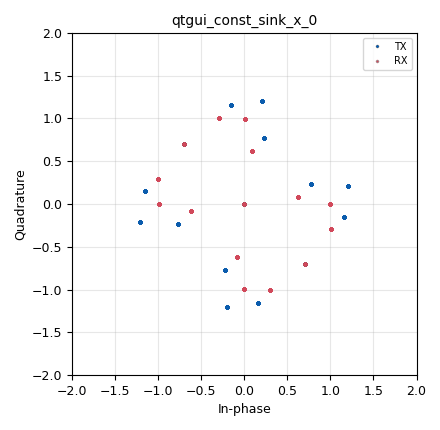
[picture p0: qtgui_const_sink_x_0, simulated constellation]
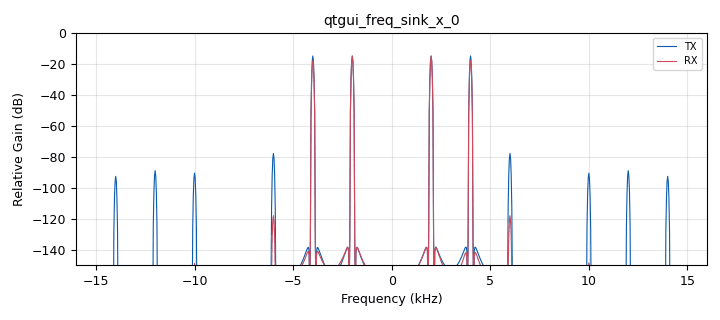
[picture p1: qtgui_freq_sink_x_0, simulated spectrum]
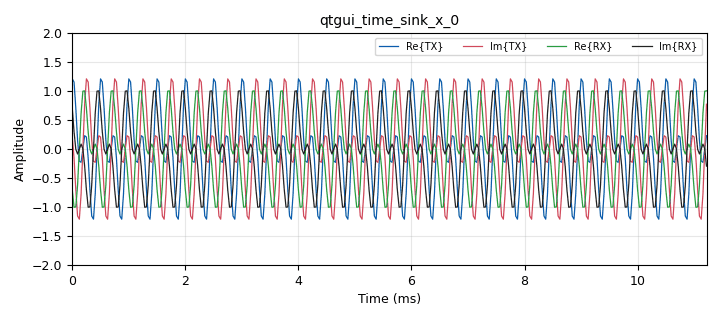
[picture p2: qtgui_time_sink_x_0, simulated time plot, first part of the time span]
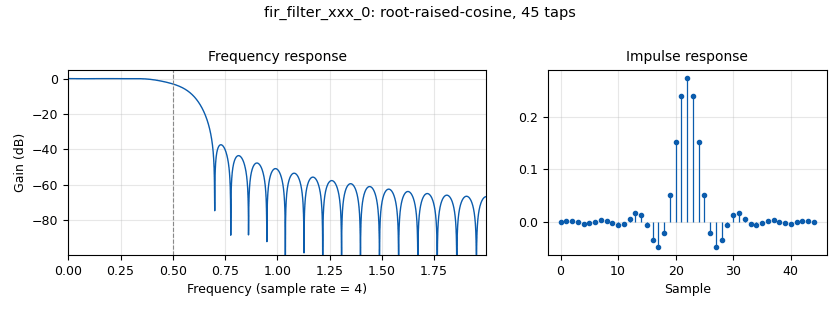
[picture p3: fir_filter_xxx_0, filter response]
<?xml version='1.0' encoding='utf-8'?>
<?grc format='1' created='3.7.10'?>
<flow_graph>
<block>
<key>options</key>
<param><key>id</key><value>vector_source_modulation</value></param>
<param><key>category</key><value>Custom</value></param>
<param><key>generate_options</key><value>qt_gui</value></param>
</block>
<block>
<key>variable</key>
<param><key>id</key><value>arity</value></param>
<param><key>value</key><value>4</value></param>
</block>
<block>
<key>variable</key>
<param><key>id</key><value>excess_bw</value></param>
<param><key>value</key><value>0.35</value></param>
</block>
<block>
<key>variable_constellation_rect</key>
<param><key>id</key><value>qpsk</value></param>
<param><key>const_points</key><value>[1+0j,-1+0j,0+1j,0-1j]</value></param>
<param><key>imag_sect</key><value>2</value></param>
<param><key>real_sect</key><value>2</value></param>
<param><key>rot_sym</key><value>4</value></param>
<param><key>sym_map</key><value>[0, 1, 2, 3]</value></param>
<param><key>w_imag_sect</key><value>1</value></param>
<param><key>w_real_sect</key><value>1</value></param>
</block>
<block>
<key>variable</key>
<param><key>id</key><value>rrc_taps</value></param>
<param><key>value</key><value>firdes.root_raised_cosine(1, sps, 1, excess_bw, 45)</value></param>
</block>
<block>
<key>variable</key>
<param><key>id</key><value>samp_rate</value></param>
<param><key>value</key><value>32000</value></param>
</block>
<block>
<key>variable</key>
<param><key>id</key><value>sps</value></param>
<param><key>value</key><value>4</value></param>
</block>
<block>
<key>analog_random_source_x</key>
<param><key>id</key><value>analog_random_source_x_0</value></param>
<param><key>_enabled</key><value>0</value></param>
<param><key>max</key><value>2</value></param>
<param><key>min</key><value>0</value></param>
<param><key>num_samps</key><value>10000</value></param>
<param><key>type</key><value>byte</value></param>
<param><key>repeat</key><value>True</value></param>
</block>
<block>
<key>blocks_throttle</key>
<param><key>id</key><value>blocks_throttle_0</value></param>
<param><key>samples_per_second</key><value>samp_rate</value></param>
<param><key>type</key><value>complex</value></param>
</block>
<block>
<key>blocks_vector_source_x</key>
<param><key>id</key><value>blocks_vector_source_x_0</value></param>
<param><key>type</key><value>byte</value></param>
<param><key>repeat</key><value>True</value></param>
<param><key>vector</key><value>(57,57)</value></param>
</block>
<block>
<key>digital_constellation_modulator</key>
<param><key>id</key><value>digital_constellation_modulator_0</value></param>
<param><key>constellation</key><value>qpsk</value></param>
<param><key>differential</key><value>False</value></param>
<param><key>excess_bw</key><value>excess_bw</value></param>
<param><key>samples_per_symbol</key><value>sps</value></param>
</block>
<block>
<key>fir_filter_xxx</key>
<param><key>id</key><value>fir_filter_xxx_0</value></param>
<param><key>decim</key><value>1</value></param>
<param><key>taps</key><value>rrc_taps</value></param>
<param><key>type</key><value>ccc</value></param>
</block>
<block>
<key>qtgui_const_sink_x</key>
<param><key>id</key><value>qtgui_const_sink_x_0</value></param>
<param><key>gui_hint</key><value>0,1,1,1</value></param>
<param><key>alpha1</key><value>0.75</value></param>
<param><key>label1</key><value>TX</value></param>
<param><key>alpha2</key><value>0.5</value></param>
<param><key>label2</key><value>RX</value></param>
<param><key>name</key><value></value></param>
<param><key>nconnections</key><value>2</value></param>
<param><key>size</key><value>1024*4</value></param>
<param><key>type</key><value>complex</value></param>
</block>
<block>
<key>qtgui_freq_sink_x</key>
<param><key>id</key><value>qtgui_freq_sink_x_0</value></param>
<param><key>bw</key><value>samp_rate</value></param>
<param><key>fc</key><value>0</value></param>
<param><key>fftsize</key><value>1024</value></param>
<param><key>gui_hint</key><value>1,0,1,2</value></param>
<param><key>alpha1</key><value>0.6</value></param>
<param><key>label1</key><value>TX</value></param>
<param><key>width1</key><value>2</value></param>
<param><key>alpha2</key><value>0.6</value></param>
<param><key>label2</key><value>RX</value></param>
<param><key>width2</key><value>2</value></param>
<param><key>name</key><value></value></param>
<param><key>nconnections</key><value>2</value></param>
<param><key>showports</key><value>True</value></param>
<param><key>type</key><value>complex</value></param>
<param><key>wintype</key><value>firdes.WIN_BLACKMAN_hARRIS</value></param>
<param><key>ymax</key><value>0</value></param>
<param><key>ymin</key><value>-150</value></param>
</block>
<block>
<key>qtgui_time_sink_x</key>
<param><key>id</key><value>qtgui_time_sink_x_0</value></param>
<param><key>gui_hint</key><value>0,0,1,1</value></param>
<param><key>alpha1</key><value>0.5</value></param>
<param><key>color1</key><value>"blue"</value></param>
<param><key>label1</key><value>Re{TX}</value></param>
<param><key>alpha2</key><value>0.5</value></param>
<param><key>color2</key><value>"red"</value></param>
<param><key>label2</key><value>Im{TX}</value></param>
<param><key>alpha3</key><value>0.5</value></param>
<param><key>color3</key><value>"cyan"</value></param>
<param><key>label3</key><value>Re{RX}</value></param>
<param><key>alpha4</key><value>0.5</value></param>
<param><key>color4</key><value>"magenta"</value></param>
<param><key>label4</key><value>Im{RX}</value></param>
<param><key>name</key><value></value></param>
<param><key>nconnections</key><value>2</value></param>
<param><key>size</key><value>5000</value></param>
<param><key>srate</key><value>samp_rate</value></param>
<param><key>type</key><value>complex</value></param>
<param><key>ymax</key><value>2</value></param>
<param><key>ymin</key><value>-2</value></param>
</block>
<connection><source_block_id>analog_random_source_x_0</source_block_id><sink_block_id>digital_constellation_modulator_0</sink_block_id><source_key>0</source_key><sink_key>0</sink_key></connection>
<connection><source_block_id>blocks_throttle_0</source_block_id><sink_block_id>fir_filter_xxx_0</sink_block_id><source_key>0</source_key><sink_key>0</sink_key></connection>
<connection><source_block_id>blocks_throttle_0</source_block_id><sink_block_id>qtgui_const_sink_x_0</sink_block_id><source_key>0</source_key><sink_key>0</sink_key></connection>
<connection><source_block_id>blocks_throttle_0</source_block_id><sink_block_id>qtgui_freq_sink_x_0</sink_block_id><source_key>0</source_key><sink_key>0</sink_key></connection>
<connection><source_block_id>blocks_throttle_0</source_block_id><sink_block_id>qtgui_time_sink_x_0</sink_block_id><source_key>0</source_key><sink_key>0</sink_key></connection>
<connection><source_block_id>blocks_vector_source_x_0</source_block_id><sink_block_id>digital_constellation_modulator_0</sink_block_id><source_key>0</source_key><sink_key>0</sink_key></connection>
<connection><source_block_id>digital_constellation_modulator_0</source_block_id><sink_block_id>blocks_throttle_0</sink_block_id><source_key>0</source_key><sink_key>0</sink_key></connection>
<connection><source_block_id>fir_filter_xxx_0</source_block_id><sink_block_id>qtgui_const_sink_x_0</sink_block_id><source_key>0</source_key><sink_key>1</sink_key></connection>
<connection><source_block_id>fir_filter_xxx_0</source_block_id><sink_block_id>qtgui_freq_sink_x_0</sink_block_id><source_key>0</source_key><sink_key>1</sink_key></connection>
<connection><source_block_id>fir_filter_xxx_0</source_block_id><sink_block_id>qtgui_time_sink_x_0</sink_block_id><source_key>0</source_key><sink_key>1</sink_key></connection>
</flow_graph>
